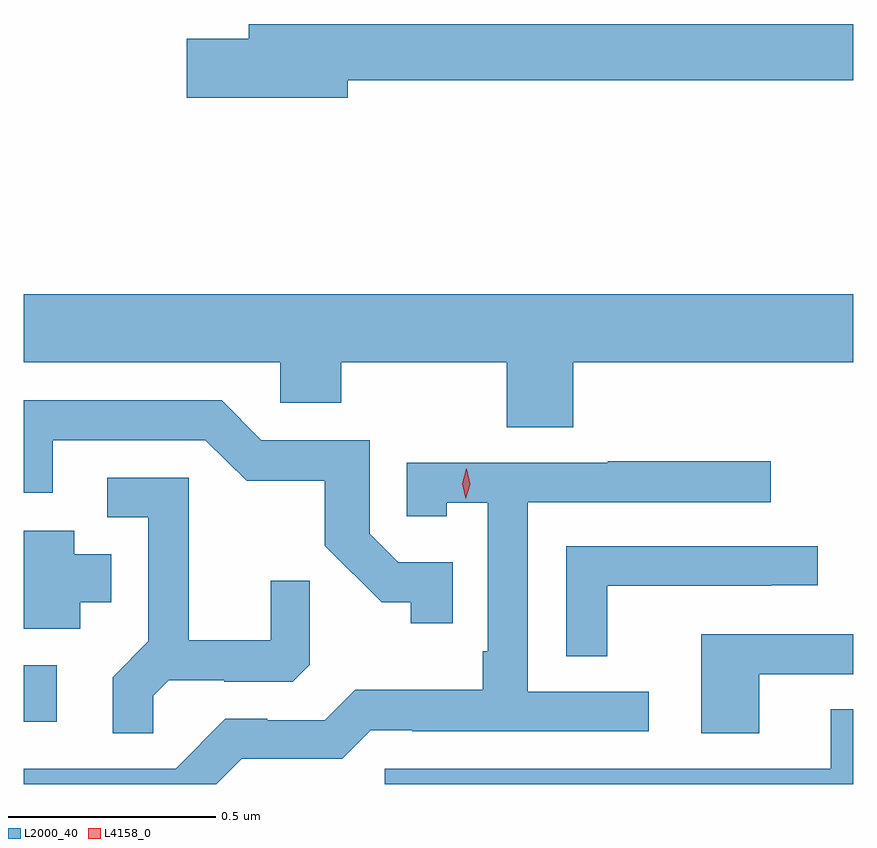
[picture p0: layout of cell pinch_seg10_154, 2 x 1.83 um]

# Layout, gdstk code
import gdstk
lib = gdstk.Library(unit=1e-6, precision=1e-09)
def R(c, l, rs):  # rectangles x0, y0, x1, y1
    for r in rs: c.add(gdstk.rectangle(r[:2], r[2:], *l))
def P(c, l, *ps):  # polygons
    for p in ps: c.add(gdstk.Polygon(p, *l))
L2000_40 = (2000, 40)
L4158_0 = (4158, 0)

pinch_seg10_154 = lib.new_cell('pinch_seg10_154')
R(pinch_seg10_154, L2000_40, [(724.827,1274.141,724.906,1274.277)])
P(pinch_seg10_154, L2000_40, [(725.608,1275.688),(726.827,1275.688),(726.827,1275.824),(725.369,1275.824),(725.369,1275.788),(725.22,1275.788),(725.22,1275.646),(725.608,1275.646)],
  [(724.827,1275.008),(725.445,1275.008),(725.445,1274.91),(725.592,1274.91),(725.592,1275.008),(725.992,1275.008),(725.992,1274.851),(726.152,1274.851),(726.152,1275.008),(726.827,1275.008),(726.827,1275.172),(724.827,1275.172)],
  [(725.861,1274.526),(725.73,1274.526),(725.661,1274.595),(725.661,1274.82),(725.4,1274.82),(725.304,1274.916),(724.827,1274.916),(724.827,1274.694),(724.897,1274.694),(724.897,1274.82),(725.265,1274.82),(725.364,1274.722),(725.553,1274.722),(725.553,1274.566),(725.69,1274.429),(725.76,1274.429),(725.76,1274.379),(725.861,1274.379)],
  [(725.352,1274.052),(725.595,1274.052),(725.664,1274.121),(725.764,1274.121),(725.764,1274.118),(726.334,1274.118),(726.334,1274.214),(726.042,1274.214),(726.042,1274.67),(726.628,1274.67),(726.628,1274.769),(726.235,1274.769),(726.235,1274.766),(725.751,1274.766),(725.751,1274.637),(725.847,1274.637),(725.847,1274.669),(725.946,1274.669),(725.946,1274.311),(725.934,1274.311),(725.934,1274.218),(725.626,1274.218),(725.553,1274.145),(725.414,1274.145),(725.414,1274.148),(725.313,1274.148),(725.193,1274.028),(724.827,1274.028),(724.827,1273.991),(725.291,1273.991)],
  [(725.139,1274.204),(725.176,1274.241),(725.31,1274.241),(725.31,1274.238),(725.475,1274.238),(725.516,1274.279),(725.516,1274.481),(725.422,1274.481),(725.422,1274.338),(725.225,1274.338),(725.225,1274.73),(725.028,1274.73),(725.028,1274.634),(725.127,1274.634),(725.127,1274.335),(725.041,1274.249),(725.041,1274.113),(725.139,1274.113)],
  [(724.963,1274.429),(725.038,1274.429),(725.038,1274.545),(724.948,1274.545),(724.948,1274.602),(724.827,1274.602),(724.827,1274.366),(724.963,1274.366)],
  [(726.234,1274.469),(726.629,1274.469),(726.629,1274.47),(726.742,1274.47),(726.742,1274.565),(726.135,1274.565),(726.135,1274.299),(726.234,1274.299)],
  [(726.601,1274.256),(726.827,1274.256),(726.827,1274.352),(726.461,1274.352),(726.461,1274.113),(726.601,1274.113)],
  [(726.827,1274.171),(726.773,1274.171),(726.773,1274.028),(725.697,1274.028),(725.697,1273.991),(726.827,1273.991)])
P(pinch_seg10_154, L4158_0, [(725.893,1274.679),(725.893,1274.679),(725.884,1274.715),(725.894,1274.751),(725.895,1274.751),(725.895,1274.751),(725.904,1274.714),(725.893,1274.679)])

lib.write_gds('pinch_seg10_154.gds')
